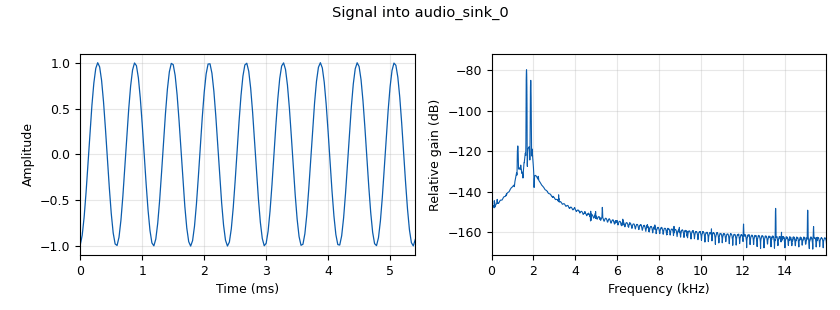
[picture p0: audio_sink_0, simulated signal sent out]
<?xml version='1.0' encoding='utf-8'?>
<?grc format='1' created='3.7.9'?>
<flow_graph>
<block>
<key>options</key>
<param><key>id</key><value>top_block</value></param>
<param><key>category</key><value>Custom</value></param>
<param><key>generate_options</key><value>wx_gui</value></param>
</block>
<block>
<key>variable</key>
<param><key>id</key><value>samp_rate</value></param>
<param><key>value</key><value>32000</value></param>
</block>
<block>
<key>variable_slider</key>
<param><key>id</key><value>sen</value></param>
<param><key>converver</key><value>float_converter</value></param>
<param><key>value</key><value>25</value></param>
<param><key>label</key><value></value></param>
<param><key>max</key><value>100</value></param>
<param><key>min</key><value>10</value></param>
<param><key>num_steps</key><value>75</value></param>
<param><key>style</key><value>wx.SL_HORIZONTAL</value></param>
</block>
<block>
<key>audio_sink</key>
<param><key>id</key><value>audio_sink_0</value></param>
<param><key>samp_rate</key><value>samp_rate</value></param>
</block>
<block>
<key>blocks_repeat</key>
<param><key>id</key><value>blocks_repeat_0</value></param>
<param><key>interp</key><value>16000</value></param>
<param><key>type</key><value>float</value></param>
</block>
<block>
<key>blocks_throttle</key>
<param><key>id</key><value>blocks_throttle_0</value></param>
<param><key>samples_per_second</key><value>samp_rate</value></param>
<param><key>type</key><value>float</value></param>
</block>
<block>
<key>blocks_vco_f</key>
<param><key>id</key><value>blocks_vco_f_0</value></param>
<param><key>amplitude</key><value>1</value></param>
<param><key>samp_rate</key><value>samp_rate</value></param>
<param><key>sensitivity</key><value>30</value></param>
</block>
<block>
<key>blocks_vector_source_x</key>
<param><key>id</key><value>blocks_vector_source_x_0</value></param>
<param><key>type</key><value>float</value></param>
<param><key>repeat</key><value>True</value></param>
<param><key>vector</key><value>(262, 262, 294,262,350,330,0,262,262,294,262,392,350,0,262,262,524,440,392,350,330,0,467,467,440,350,392,350)</value></param>
</block>
<connection><source_block_id>blocks_repeat_0</source_block_id><sink_block_id>blocks_vco_f_0</sink_block_id><source_key>0</source_key><sink_key>0</sink_key></connection>
<connection><source_block_id>blocks_throttle_0</source_block_id><sink_block_id>audio_sink_0</sink_block_id><source_key>0</source_key><sink_key>0</sink_key></connection>
<connection><source_block_id>blocks_vco_f_0</source_block_id><sink_block_id>blocks_throttle_0</sink_block_id><source_key>0</source_key><sink_key>0</sink_key></connection>
<connection><source_block_id>blocks_vector_source_x_0</source_block_id><sink_block_id>blocks_repeat_0</sink_block_id><source_key>0</source_key><sink_key>0</sink_key></connection>
</flow_graph>
